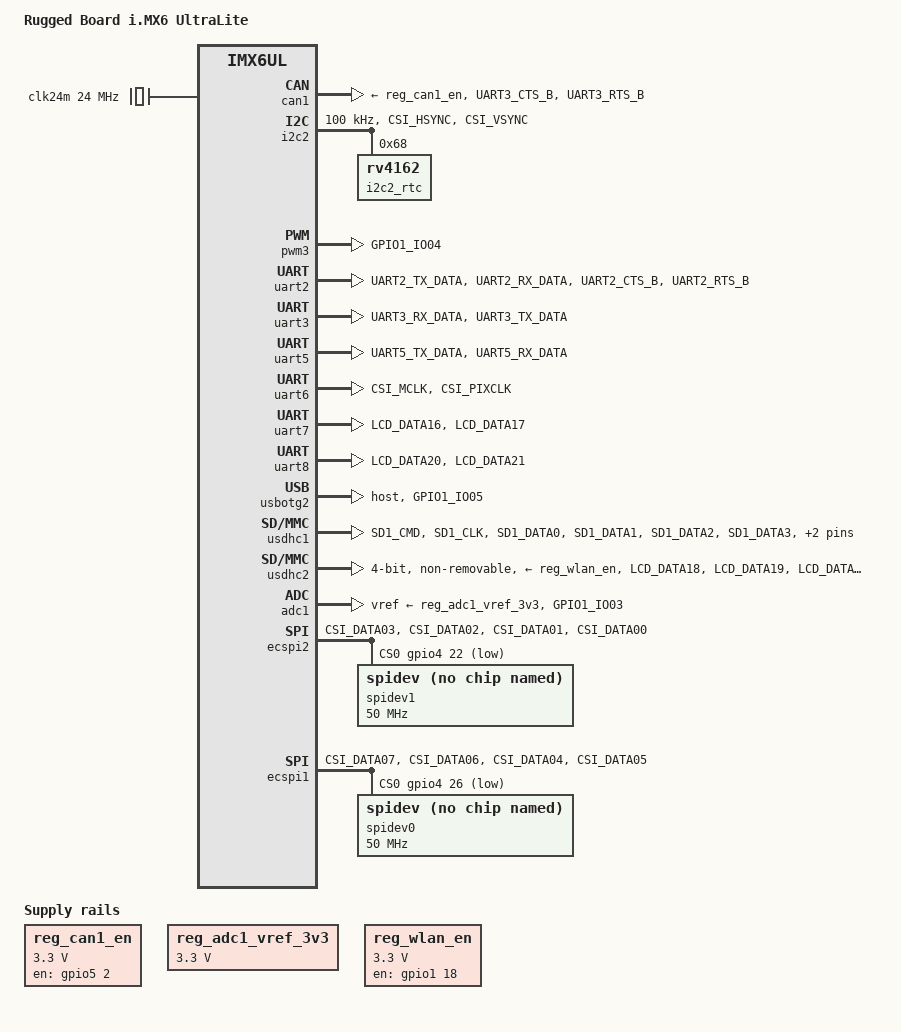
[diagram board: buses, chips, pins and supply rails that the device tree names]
/*
 * Copyright (C) 2020 PHYTEC INDIA PVT LTD
 * Author: Venkata Sai Kiran M <kiran.m@phytec.in>
 *
 * This program is free software; you can redistribute it and/or modify
 * it under the terms of the GNU General Public License version 2 as
 * published by the Free Software Foundation.
 */

/ {

	model = "Rugged Board i.MX6 UltraLite";
	compatible = "phytec,imx6ul-pbacd-10", "phytec,imx6ul-pcl063","fsl,imx6ul";

	aliases {
		rtc0 = &i2c2_rtc;   /* RV-4162-C7 RTC */
	};

	regulators {
		compatible = "simple-bus";
		#address-cells = <1>;
		#size-cells = <0>;

		reg_can1_en: regulator@3 {
			compatible = "regulator-fixed";
			reg = <3>;
			pinctrl-names = "default";
			pinctrl-0 = <&princtrl_flexcan1_en>;
			regulator-name = "Can";
			regulator-min-microvolt = <3300000>;
			regulator-max-microvolt = <3300000>;
			gpio = <&gpio5 2 GPIO_ACTIVE_HIGH>;
			enable-active-high;
			status = "okay";
		};

	

		reg_adc1_vref_3v3: regulator@5 {
			compatible = "regulator-fixed";
			regulator-name = "vref-3v3";
			regulator-min-microvolt = <3300000>;
			regulator-max-microvolt = <3300000>;
		};

		reg_wlan_en: regulator@7 {
			compatible = "regulator-fixed";
			reg = <7>;
			regulator-name = "wlan_en";
			regulator-min-microvolt = <3300000>;
			regulator-max-microvolt = <3300000>;
			gpio = <&gpio1 18 GPIO_ACTIVE_HIGH>;
			startup-delay-us = <70000>; /* card specific delay */
			enable-active-high;
			status = "okay";
		};

	};

};

&can1 {							/* CAN TX & RX on P9 Connector(PIN-1,2) */
	pinctrl-names = "default";
	pinctrl-0 = <&pinctrl_flexcan1>;
	xceiver-supply = <&reg_can1_en>;
	status = "okay";
};



&i2c2 {
	pinctrl-names = "default";
	pinctrl-0 =<&pinctrl_i2c2>;
	clock-frequency = <100000>;
	status = "okay";

	i2c2_rtc: rtc@68 {				/* RTC */
		compatible = "rv4162";
		reg = <0x68>;
		status = "okay";
	};
};

&pwm3 {							/* PWM3 Controller for GPIO1_4 */
	pinctrl-names = "default";
	pinctrl-0 = <&pinctrl_pwm3>;
	status = "okay";
};

&uart2{							/* UART2 full-Duplex communication on P4 connector */
	pinctrl-names = "default";
	pinctrl-0 = <&pinctrl_uart2>;
	status = "okay";

};

&uart3 {						/* UART 3 Half-Duplex communication on Expansion Connector */
	pinctrl-names = "default";
	pinctrl-0 = <&pinctrl_uart3>;
	status = "okay";
};


&uart5 {						/* UART 5 Full-Buplex Communication for BLE or RX can be used as USB OTG2 ID PIN */
	pinctrl-names = "default";
	pinctrl-0 = <&pinctrl_uart5>;
	uart-has-rtscts;
	status = "okay";
};

&uart6 {						/* UART 6 HAlf Duplex Communication for RS-485 */
	pinctrl-names = "default";
	pinctrl-0 = <&pinctrl_uart6>;
	//rts-gpios = <&gpio2 10 GPIO_ACTIVE_HIGH>;
	//rs485-rts-delay = <0 0>;
	status = "okay";
};
&uart7 {                                                /* UART 7 Half-Duplex communication on Expansion Connector */
        pinctrl-names = "default";
        pinctrl-0 = <&pinctrl_uart7>;
        status = "okay";
};
&uart8 {                                                /* UART 8 Half-Duplex communication on Expansion Connector */
        pinctrl-names = "default";
        pinctrl-0 = <&pinctrl_uart8>;
        status = "okay";
};



&usbotg1{						/* USB 0 ID Pin */
	pinctrl-names = "default";
	pinctrl-0 = <&pinctrl_usb_otg1_id>;
	dr_mode = "host";
	disable-over-current;
	status = "disabled";
};

&usbotg2 {						/* USB 1 ID Pin */
	pinctrl-names = "default";
	pinctrl-0 = <&pinctrl_usb_otg2_id>;
	dr_mode = "host";
	disable-over-current;
	status = "okay";
};

&usdhc1 {						/* SD-CARD mmc lines */
	pinctrl-names = "default", "state_100mhz", "state_200mhz";
	pinctrl-0 = <&pinctrl_usdhc1>;
	pinctrl-1 = <&pinctrl_usdhc1_100mhz>;
	pinctrl-2 = <&pinctrl_usdhc1_200mhz>;
	cd-gpios = <&gpio1 19 GPIO_ACTIVE_LOW>;
	no-1-8-v;
	keep-power-in-suspend;
	wakeup-source;
	status = "okay";
};

&usdhc2 {						/* ATWILC3000 mmc communication lines */
	pinctrl-names = "default";
	pinctrl-0 = <&pinctrl_usdhc2_wlan &pinctrl_wlan>;
	vmmc-supply = <&reg_wlan_en>;
	bus-width = <4>;
	non-removable;
	cap-power-off-card;
	keep-power-in-suspend;
	status = "okay";
};

&adc1 {							/* ADC Pin on the micro bus GPIO1_3 */
	pinctrl-names = "default";
	pinctrl-0 = <&pinctrl_adc1>;
	vref-supply = <&reg_adc1_vref_3v3>;
	status = "okay";
	/*
	 * driver can not separate a specific channel so we request 4 channels
	 * here - we need only the fourth channel
	 */
	num-channels = <4>;
};

&ecspi2 {                                               /* SPI1 Communication on the Expansion */
        pinctrl-names = "default";
        pinctrl-0 = <&pinctrl_ecspi2>;
        cs-gpios = <&gpio4 22 GPIO_ACTIVE_LOW>;
        dmas = <&sdma 5 7 1>,
               <&sdma 6 7 2>;
        dma-names = "rx", "tx";
        status = "okay";

         spidev1: spi@0 {
                compatible = "spidev";
                reg = <0>;
                spi-max-frequency = <50000000>;
                status = "okay";
        };
};





&ecspi1{                                                        /* SPI0 Communication on the Expansion */
        pinctrl-names = "default";
        pinctrl-0 = <&pinctrl_ecspi1>;
        cs-gpios = <&gpio4 26 GPIO_ACTIVE_LOW>;
        dmas = <&sdma 3 7 1>,
                <&sdma 4 7 2>;
        dma-names = "rx", "tx";
        status = "okay";

   /*  can3: can@3 {
                compatible = "microchip,mcp2515";
                reg = <1>;
                clocks = <&clk24m>;
                interrupt-parent = <&gpio4>;
                interrupts = <26 IRQ_TYPE_LEVEL_LOW>;
		spi-max-frequency = <50000000>;
     //           gpio-controller;
       //         #gpio-cells = <2>;
		status = "okay";
        };*/




        spidev0: spi@0 {
                compatible = "spidev";
                reg = <0>;
                spi-max-frequency = <50000000>;
                status = "okay";
        }; 
};





&iomuxc {
	pinctrl-names = "default";
	pinctrl-0 = <&pinctrl_gpios>;
	pinctrl_gpios: gpios {
		fsl,pins = <
			MX6UL_PAD_ENET2_TX_DATA0__GPIO2_IO11	0x17059     /* User LED-1 */
			MX6UL_PAD_ENET2_TX_DATA1__GPIO2_IO12	0x17059	    /* User LED-2 */
			MX6UL_PAD_ENET2_TX_EN__GPIO2_IO13	0x17059     /* User LED-3 */
			MX6UL_PAD_ENET2_RX_DATA0__GPIO2_IO08	0x17059     /* User Switch */
	              /*MX6UL_PAD_SNVS_TAMPER5__GPIO5_IO05	0x17059     /* Digital input -1 */
		  /*    MX6UL_PAD_GPIO1_IO03__GPIO1_IO03	0x17059	   /*  Digital input -2 */
		    /*  MX6UL_PAD_GPIO1_IO01__GPIO1_IO01	0x17059     /* Digital input -3 */
		      MX6UL_PAD_JTAG_TMS__GPIO1_IO11		0x4001b0b0  /* Digital input -4 or Expansion GPIO(31) */
		     /* MX6UL_PAD_JTAG_TDI__GPIO1_IO13          0x4001b0b0  /* Digital output -1 or Expansion GPIO(5) */
		     /* MX6UL_PAD_JTAG_TDO__GPIO1_IO12		0x4001b0b0  /* Digital output -2 or Expansion GPIO(7) */
		      /*MX6UL_PAD_JTAG_TRST_B__GPIO1_IO15	0x4001b0b0  /* Digital output -3 or Expansion GPIO(9) */ 
			
	                MX6UL_PAD_ENET2_TX_EN__GPIO2_IO13      0x4001b0b0      /* Digital input*/
			MX6UL_PAD_GPIO1_IO01__GPIO1_IO01       0x4001b0b0     /* Digital input*/
			MX6UL_PAD_JTAG_TMS__GPIO1_IO11         0x4001b0b0      /* Digital input*/
			MX6UL_PAD_JTAG_TDI__GPIO1_IO13         0x4001b0b0    /* Digital input*/
			MX6UL_PAD_JTAG_TDO__GPIO1_IO12         0x4001b0b0      /* Digital input*/
			MX6UL_PAD_JTAG_TCK__GPIO1_IO14         0x4001b0b0      /* Digital input*/
                        MX6UL_PAD_JTAG_TRST_B__GPIO1_IO15       0x4001b0b0      /* Digital input*/


   			
 		      MX6UL_PAD_SNVS_TAMPER3__GPIO5_IO03      0x4001b0b     /* digital output expansion GPIO(9)*/
			MX6UL_PAD_SNVS_TAMPER2__GPIO5_IO02      0x4001b0b     /* digital output expansion GPIO(7)*/
			MX6UL_PAD_SNVS_TAMPER1__GPIO5_IO01      0x4001b0b     /* digital output expansion GPIO(5)*/
			MX6UL_PAD_GPIO1_IO09__GPIO1_IO09        0x4001b0b     /* digital output expansion GPIO()*/

		/*	MX6UL_PAD_JTAG_TCK__GPIO1_IO14		0x4001b0b0  /* Digital output -4 or Expansion GPIO(11) */
			MX6UL_PAD_ENET2_RX_ER__GPIO2_IO15	0x17059     /* USB Control GPIO */
			MX6UL_PAD_ENET2_RX_DATA1__GPIO2_IO09	0x17059     /* USB Control GPIO */
			MX6UL_PAD_ENET2_TX_CLK__GPIO2_IO14	0x17059     /* Expansion GPIO(29) */
			MX6UL_PAD_SNVS_TAMPER0__GPIO5_IO00	0x17059     /* Micro Bus Interrupt */
			MX6UL_PAD_JTAG_MOD__GPIO1_IO10          0x4001b0b0  /* Expansion GPIO(35) */
		>;
	};

	pinctrl_flexcan1: flexcan1 {
		fsl,pins = <
			MX6UL_PAD_UART3_CTS_B__FLEXCAN1_TX	0x0b0b0
			MX6UL_PAD_UART3_RTS_B__FLEXCAN1_RX	0x0b0b0
		>;
	};

	princtrl_flexcan1_en: flexcan1engrp {
		fsl,pins = <
		/*	MX6UL_PAD_SNVS_TAMPER2__GPIO5_IO02	0x17059*/
		>;
	};



	pinctrl_i2c2: i2c2grp {
		fsl,pins = <
			MX6UL_PAD_CSI_HSYNC__I2C2_SCL      0x4001b8b0
			MX6UL_PAD_CSI_VSYNC__I2C2_SDA      0x4001b8b0
		>;
	};

	pinctrl_pwm3: pwm3grp {
		fsl,pins = <
			MX6UL_PAD_GPIO1_IO04__PWM3_OUT		0x1b0b1
		>;
	};

	pinctrl_rtc_int: rtcintgrp {
		fsl,pins = <
			MX6UL_PAD_SNVS_TAMPER1__GPIO5_IO01	0x17059
		>;
	};

	pinctrl_stmpe: stmpegrp {
		fsl,pins = <
		/*	MX6UL_PAD_SNVS_TAMPER3__GPIO5_IO03	0x17059*/
		>;
	};

	pinctrl_uart2: uart2grp {
		fsl,pins = <
			MX6UL_PAD_UART2_TX_DATA__UART2_DCE_TX   0x1b0b1
			MX6UL_PAD_UART2_RX_DATA__UART2_DCE_RX   0x1b0b1
			MX6UL_PAD_UART2_CTS_B__UART2_DCE_CTS    0x1b0b1
			MX6UL_PAD_UART2_RTS_B__UART2_DCE_RTS    0x1b0b1
		>;
	};

	pinctrl_uart3: uart3grp {
		fsl,pins = <
			MX6UL_PAD_UART3_RX_DATA__UART3_DCE_RX	0x1b0b1
			MX6UL_PAD_UART3_TX_DATA__UART3_DCE_TX	0x1b0b1
			/*MX6UL_PAD_UART3_RTS_B__UART3_DCE_RTS  0x1b0b1
                      	MX6UL_PAD_UART3_CTS_B__UART3_DCE_CTS  0x1b0b1*/
		>;
	};


	pinctrl_uart5: uart5grp {
		fsl,pins = <
			MX6UL_PAD_UART5_TX_DATA__UART5_DCE_TX	0x1b0b1
			MX6UL_PAD_UART5_RX_DATA__UART5_DCE_RX	0x1b0b1
		/*	MX6UL_PAD_GPIO1_IO08__UART5_DCE_RTS	0x1b0b1
			MX6UL_PAD_GPIO1_IO09__UART5_DCE_CTS	0x1b0b1*/
		>;
	};

	pinctrl_uart6: uart6grp {
		fsl,pins = <
			MX6UL_PAD_CSI_MCLK__UART6_DCE_TX	0x0b0b0
			MX6UL_PAD_CSI_PIXCLK__UART6_DCE_RX      0x0b0b0
		>;
	};
        pinctrl_uart7: uart7grp {
                fsl,pins = <
                	 MX6UL_PAD_LCD_DATA16__UART7_DCE_TX
			 MX6UL_PAD_LCD_DATA17__UART7_DCE_RX
                >;
        };
	pinctrl_uart8: uart8grp {
                fsl,pins = <
			 MX6UL_PAD_LCD_DATA20__UART8_DCE_TX
			 MX6UL_PAD_LCD_DATA21__UART8_DCE_RX
                 >;
	};


	pinctrl_usb_otg1_id: usbotg1idgrp {
		fsl,pins = <
			MX6UL_PAD_GPIO1_IO00__ANATOP_OTG1_ID	0x17059
			
		>;
	};

	pinctrl_usb_otg2_id: usbotg2idgrp {
		fsl,pins = <
	                 MX6UL_PAD_GPIO1_IO05__ANATOP_OTG2_ID	0x17059 
			/*  MX6UL_PAD_GPIO1_IO05__USB_OTG2_ID    0x17059 */
		>;
	};

	pinctrl_usdhc1: usdhc1grp {
		fsl,pins = <
			MX6UL_PAD_SD1_CMD__USDHC1_CMD		0x17059
			MX6UL_PAD_SD1_CLK__USDHC1_CLK		0x10059
			MX6UL_PAD_SD1_DATA0__USDHC1_DATA0	0x17059
			MX6UL_PAD_SD1_DATA1__USDHC1_DATA1	0x17059
			MX6UL_PAD_SD1_DATA2__USDHC1_DATA2	0x17059
			MX6UL_PAD_SD1_DATA3__USDHC1_DATA3	0x17059
			MX6UL_PAD_UART1_RTS_B__GPIO1_IO19	0x17059
		>;
	};

	pinctrl_usdhc1_100mhz: usdhc1grp100mhz {
		fsl,pins = <
			MX6UL_PAD_SD1_CMD__USDHC1_CMD		0x170b9
			MX6UL_PAD_SD1_CLK__USDHC1_CLK		0x100b9
			MX6UL_PAD_SD1_DATA0__USDHC1_DATA0	0x170b9
			MX6UL_PAD_SD1_DATA1__USDHC1_DATA1	0x170b9
			MX6UL_PAD_SD1_DATA2__USDHC1_DATA2	0x170b9
			MX6UL_PAD_SD1_DATA3__USDHC1_DATA3	0x170b9
		>;
	};

	pinctrl_usdhc1_200mhz: usdhc1grp200mhz {
		fsl,pins = <
			MX6UL_PAD_SD1_CMD__USDHC1_CMD		0x170f9
			MX6UL_PAD_SD1_CLK__USDHC1_CLK		0x100f9
			MX6UL_PAD_SD1_DATA0__USDHC1_DATA0	0x170f9
			MX6UL_PAD_SD1_DATA1__USDHC1_DATA1	0x170f9
			MX6UL_PAD_SD1_DATA2__USDHC1_DATA2	0x170f9
			MX6UL_PAD_SD1_DATA3__USDHC1_DATA3	0x170f9
		>;
	};

	pinctrl_usdhc2_wlan: usdhc2grp_wlan {
		fsl,pins = <
			MX6UL_PAD_LCD_DATA18__USDHC2_CMD        0x17059
			MX6UL_PAD_LCD_DATA19__USDHC2_CLK        0x10059
			MX6UL_PAD_LCD_DATA20__USDHC2_DATA0      0x17059
			MX6UL_PAD_LCD_DATA21__USDHC2_DATA1      0x17059
			MX6UL_PAD_LCD_DATA22__USDHC2_DATA2      0x17059
			MX6UL_PAD_LCD_DATA23__USDHC2_DATA3      0x17059
		>;
	};

	pinctrl_wlan: wlangrp {
		fsl,pins = <
			/*WLAN ENABLE*/
			MX6UL_PAD_UART1_CTS_B__GPIO1_IO18      0x80000000
		>;
	};

	pinctrl_adc1: adc1grp {
		fsl,pins = <
			MX6UL_PAD_GPIO1_IO03__GPIO1_IO03	0xb0
		>;
	};

	pinctrl_ecspi1: ecspi1grp {
		fsl,pins = <
			MX6UL_PAD_CSI_DATA07__ECSPI1_MISO    0x170f9
			MX6UL_PAD_CSI_DATA06__ECSPI1_MOSI    0x170f9
			MX6UL_PAD_CSI_DATA04__ECSPI1_SCLK    0x170f9
			MX6UL_PAD_CSI_DATA05__GPIO4_IO26     0x170f9
                        MX6UL_PAD_CSI_DATA05__ECSPI1_SS0     0x170f9
		>;
	};

	clk24m: clk24m {
    		compatible = "fixed-clock";
    		#clock-cells = <0>;
    		clock-frequency = <24000000>; // Adjust frequency as per your setup
	};



	pinctrl_ecspi2: ecspi2grp {
		fsl,pins = <
			MX6UL_PAD_CSI_DATA03__ECSPI2_MISO    0x170f9
			MX6UL_PAD_CSI_DATA02__ECSPI2_MOSI    0x170f9
			MX6UL_PAD_CSI_DATA01__GPIO4_IO22     0x170f9
			MX6UL_PAD_CSI_DATA00__ECSPI2_SCLK    0x170f9
		>;
	};
};


